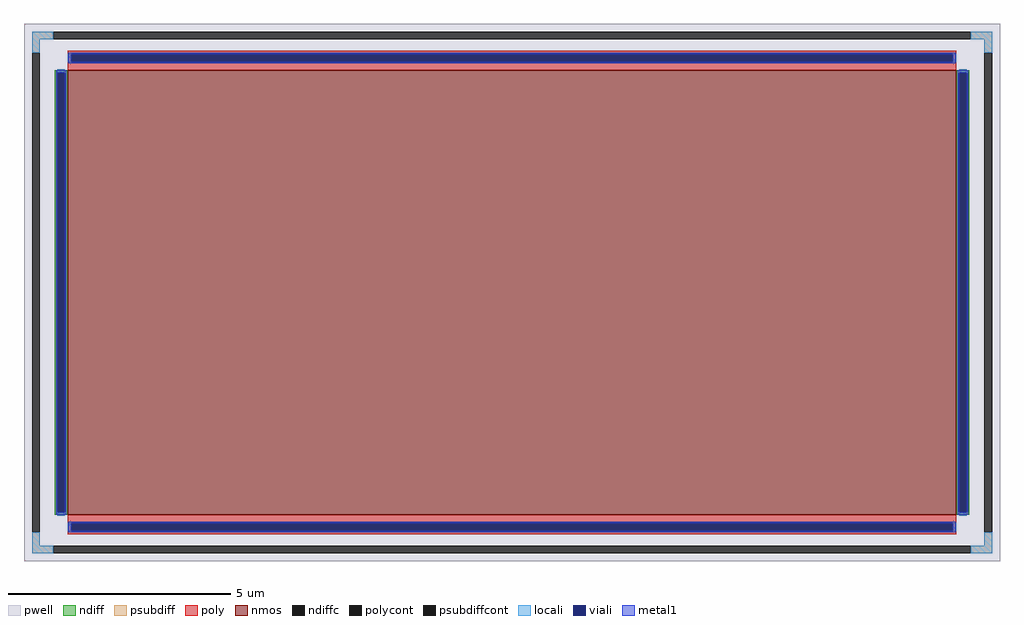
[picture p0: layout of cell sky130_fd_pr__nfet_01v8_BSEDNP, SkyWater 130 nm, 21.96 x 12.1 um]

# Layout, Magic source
magic
tech sky130A
<< pwell >>
rect -1098 -605 1098 605
<< nmos >>
rect -1000 -500 1000 500
<< ndiff >>
rect -1029 494 -1000 500
rect -1029 -494 -1023 494
rect -1006 -494 -1000 494
rect -1029 -500 -1000 -494
rect 1000 494 1029 500
rect 1000 -494 1006 494
rect 1023 -494 1029 494
rect 1000 -500 1029 -494
<< ndiffc >>
rect -1023 -494 -1006 494
rect 1006 -494 1023 494
<< psubdiff >>
rect -1080 570 -1032 587
rect 1032 570 1080 587
rect -1080 539 -1063 570
rect 1063 539 1080 570
rect -1080 -570 -1063 -539
rect 1063 -570 1080 -539
rect -1080 -587 -1032 -570
rect 1032 -587 1080 -570
<< psubdiffcont >>
rect -1032 570 1032 587
rect -1080 -539 -1063 539
rect 1063 -539 1080 539
rect -1032 -587 1032 -570
<< poly >>
rect -1000 536 1000 544
rect -1000 519 -992 536
rect 992 519 1000 536
rect -1000 500 1000 519
rect -1000 -519 1000 -500
rect -1000 -536 -992 -519
rect 992 -536 1000 -519
rect -1000 -544 1000 -536
<< polycont >>
rect -992 519 992 536
rect -992 -536 992 -519
<< locali >>
rect -1080 570 -1032 587
rect 1032 570 1080 587
rect -1080 539 -1063 570
rect 1063 539 1080 570
rect -1000 519 -992 536
rect 992 519 1000 536
rect -1023 494 -1006 502
rect -1023 -502 -1006 -494
rect 1006 494 1023 502
rect 1006 -502 1023 -494
rect -1000 -536 -992 -519
rect 992 -536 1000 -519
rect -1080 -570 -1063 -539
rect 1063 -570 1080 -539
rect -1080 -587 -1032 -570
rect 1032 -587 1080 -570
<< viali >>
rect -992 519 992 536
rect -1023 -494 -1006 494
rect 1006 -494 1023 494
rect -992 -536 992 -519
<< metal1 >>
rect -998 536 998 539
rect -998 519 -992 536
rect 992 519 998 536
rect -998 516 998 519
rect -1026 494 -1003 500
rect -1026 -494 -1023 494
rect -1006 -494 -1003 494
rect -1026 -500 -1003 -494
rect 1003 494 1026 500
rect 1003 -494 1006 494
rect 1023 -494 1026 494
rect 1003 -500 1026 -494
rect -998 -519 998 -516
rect -998 -536 -992 -519
rect 992 -536 998 -519
rect -998 -539 998 -536
<< properties >>
string FIXED_BBOX -1071 -578 1071 578
string gencell sky130_fd_pr__nfet_01v8
string library sky130
string parameters w 10 l 20 m 1 nf 1 diffcov 100 polycov 100 guard 1 glc 1 grc 1 gtc 1 gbc 1 tbcov 100 rlcov 100 topc 1 botc 1 poverlap 0 doverlap 1 lmin 0.15 wmin 0.42 compatible {sky130_fd_pr__nfet_01v8 sky130_fd_pr__nfet_01v8_lvt  sky130_fd_bs_flash__special_sonosfet_star  sky130_fd_pr__nfet_g5v0d10v5 sky130_fd_pr__nfet_05v0_nvt  sky130_fd_pr__nfet_03v3_nvt} full_metal 1 viasrc 100 viadrn 100 viagate 100 viagb 0 viagr 0 viagl 0 viagt 0
<< end >>
